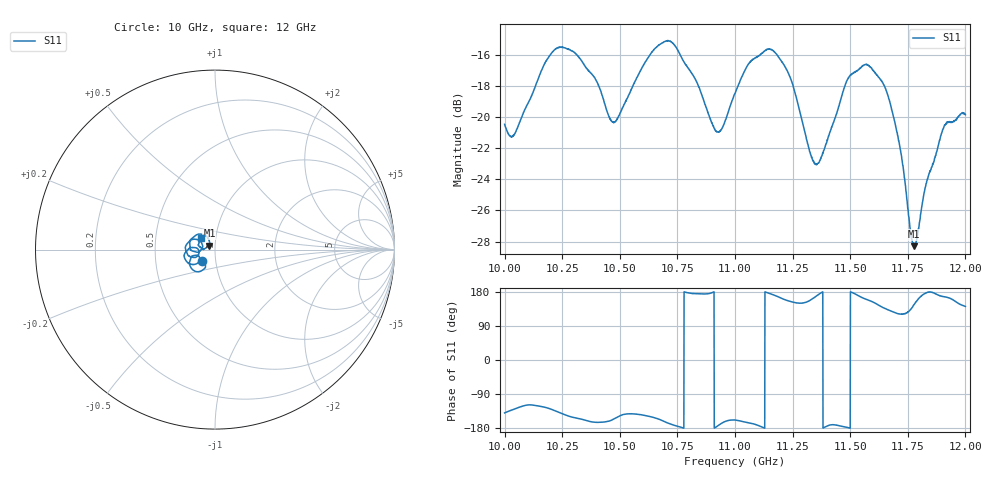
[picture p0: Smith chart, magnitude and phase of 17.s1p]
[Version] 2.0
! Rohde & Schwarz Vector Network Analyzer
! Rohde-Schwarz,ZNL20-2Port,1323001220200009,1.71.1.10-23.02.1.238
! Port Assignments:
! Nominal Port -> Actual Test Port
!  1 -> 1
! Created: GMT 2024-08-27 13:55:34
# Hz S DB R 50
[Number of Ports] 1
! freq[Hz]  S11[mag dB]  S11[ang]
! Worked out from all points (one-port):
!   2001 points, 10 GHz to 12 GHz, reference 50 ohm
!   lowest |S11| = -28.3 dB at 11.78 GHz (marker M1), VSWR 1.08, Z = 46.9 + j2.1 ohm
!   |S11| at or under -10 dB: start of sweep to end of sweep
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[Number of Frequencies] 28
[Network Data]
1e10  -20.46 -139.6
1.004e10  -21.14 -130.0
1.0176e10  -16.48 -125.1
1.025e10  -15.50 -141.7
1.0388e10  -17.39 -164.1
1.0464e10  -20.24 -158.9
1.05e10  -19.78 -147.2
1.0646e10  -15.70 -151.6
1.0709e10  -15.06 -166.5
1.075e10  -15.65 -174.8
1.092e10  -20.94 -175.9
1.0946e10  -20.65 -165.5
1.1e10  -18.47 -158.5
1.1061e10  -16.53 -166.0
1.1145e10  -15.62 176.7
1.125e10  -17.87 152.8
1.1327e10  -22.36 158.1
1.1354e10  -23.02 169.0
1.15e10  -17.31 -180.0
1.1573e10  -16.62 159.3
1.165e10  -18.04 136.3
1.1713e10  -21.69 121.6
1.175e10  -25.90 125.7
1.1775e10  -28.30 144.4
1.1791e10  -27.63 157.4
1.1833e10  -24.10 177.6
1.1903e10  -20.75 167.5
1.2e10  -19.84 141.3
[End]
